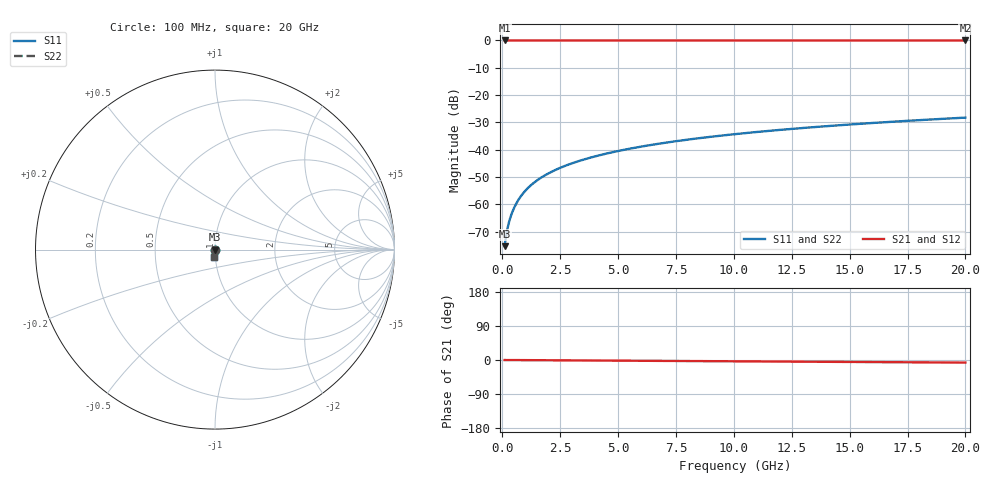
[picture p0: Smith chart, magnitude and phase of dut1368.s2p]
! Touchstone file exported from HFSS 2026.1.0
!  File:  C:/ffzhzh/LocalFiles/Ansys_Project_Files/temp_train_TSV_1368_1783196186_22436.aedt
!  Generated:  04:17:45 AM Jul  5, 2026
!  Design:  TSV
!  Project:  temp_train_TSV_1368_1783196186_22436
! Variables:
!  h_bsmrdl = 2um
!  h_ox = 20um
!  h_rdl = 5um
!  h_sub = 64.91um
!  h_tmrdl = 5um
!  h_tsv = 64.91um
!  h_via = 3um
!  l_bsmrdl = 300um
!  l_sub = 428.58um
!  l_tmrdl = 200um
!  m_sub = 200um
!  pitch = 42.68um
!  r_tsv = 14.29um
!  s_tmrdl = 10um
!  w_bsmrdl = 18um
!  w_sub = 500um
!  w_tmrdl = 12um
!  x_tsv_center1 = 206um
!  x_tsv_center2 = 524um
!  x_tsv_center3 = 736um
!  x_tsv_center4 = 1054um
!  x_tsv_center5 = 1266um
!  x_tsv_center6 = 1584um
# GHz S MA R 50.000000
! Terminal data exported
! Port[1] = TSV1_1_T1
! Port[2] = TSV1_1_T2
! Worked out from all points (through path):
!   200 points, 100 MHz to 20 GHz, reference 50 ohm
!   highest |S21| = 0.00 dB at 100 MHz (marker M1); lowest = 0.0 dB at 20 GHz (marker M2)
!   lowest |S11| = -75.3 dB at 100 MHz (marker M3), VSWR 1.00, Z = 50 - j0.0156 ohm
!   |S11| at or under -10 dB: start of sweep to end of sweep
!   |S22| runs from -75.3 to -28.3 dB; largest |S21 - S12| = 5.5e-15
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0.1  0.0001709 -65.9  0.9999 -0.0  0.9999 -0.0  0.0001709 -65.9
! Gamma 0 0 0 0
! Port Impedance 50 0 50 0
0.2  0.0003261 -75.5  0.9999 -0.1  0.9999 -0.1  0.0003261 -75.5
0.3  0.0004912 -78.3  0.9999 -0.1  0.9999 -0.1  0.0004912 -78.3
0.4  0.0006637 -79.6  0.9999 -0.1  0.9999 -0.1  0.0006637 -79.6
0.5  0.0008423 -80.4  0.9999 -0.2  0.9999 -0.2  0.0008423 -80.4
0.7  0.001212 -81.7  0.9998 -0.2  0.9998 -0.2  0.001212 -81.7
0.8  0.0014 -82.2  0.9998 -0.3  0.9998 -0.3  0.0014 -82.2
1  0.001781 -83.1  0.9998 -0.4  0.9998 -0.4  0.001781 -83.1
1.2  0.002163 -83.9  0.9998 -0.4  0.9998 -0.4  0.002163 -83.9
1.4  0.002546 -84.6  0.9997 -0.5  0.9997 -0.5  0.002546 -84.6
1.7  0.00312 -85.4  0.9997 -0.6  0.9997 -0.6  0.00312 -85.4
2  0.003693 -86.0  0.9997 -0.7  0.9997 -0.7  0.003693 -86.0
2.7  0.00503 -87.1  0.9996 -0.9  0.9996 -0.9  0.00503 -87.1
3.5  0.006562 -87.9  0.9996 -1.2  0.9996 -1.2  0.006562 -87.9
4.2  0.007906 -88.4  0.9995 -1.4  0.9995 -1.4  0.007906 -88.4
5  0.009448 -88.9  0.9995 -1.7  0.9995 -1.7  0.009448 -88.9
6.8  0.01293 -89.9  0.9994 -2.3  0.9994 -2.3  0.01293 -89.9
8.3  0.01584 -90.7  0.9993 -2.9  0.9993 -2.9  0.01584 -90.7
10.1  0.01935 -91.5  0.9992 -3.5  0.9992 -3.5  0.01935 -91.5
13.4  0.02577 -92.9  0.9989 -4.6  0.9989 -4.6  0.02577 -92.9
16.7  0.0322 -94.2  0.9986 -5.7  0.9986 -5.7  0.0322 -94.2
20  0.03863 -95.5  0.9983 -6.8  0.9983 -6.8  0.03863 -95.5
